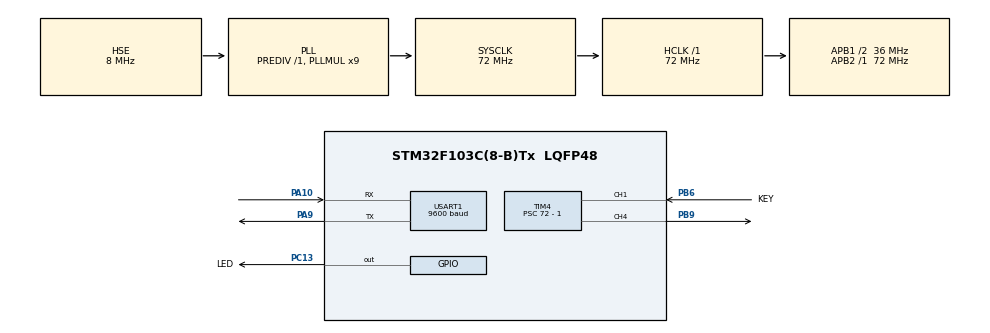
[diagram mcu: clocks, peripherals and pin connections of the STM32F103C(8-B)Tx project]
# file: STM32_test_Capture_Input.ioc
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Mcu.Family=STM32F1
Mcu.Name=STM32F103C(8-B)Tx
Mcu.Package=LQFP48
NVIC.PriorityGroup=NVIC_PRIORITYGROUP_4
NVIC.TIM4_IRQn=true\:0\:0\:false\:false\:true\:true\:true\:true
PA10.Mode=Asynchronous
PA10.Signal=USART1_RX
PA13.Mode=Serial_Wire
PA13.Signal=SYS_JTMS-SWDIO
PA14.Mode=Serial_Wire
PA14.Signal=SYS_JTCK-SWCLK
PA9.Mode=Asynchronous
PA9.Signal=USART1_TX
PB6.GPIO_Label=KEY
PB6.GPIO_PuPd=GPIO_PULLDOWN
PB6.Signal=S_TIM4_CH1
PB9.Signal=S_TIM4_CH4
PC13-TAMPER-RTC.GPIO_Label=LED
PC13-TAMPER-RTC.GPIO_Speed=GPIO_SPEED_FREQ_MEDIUM
PC13-TAMPER-RTC.PinState=GPIO_PIN_SET
PC13-TAMPER-RTC.Signal=GPIO_Output
PD0-OSC_IN.Mode=HSE-External-Oscillator
PD0-OSC_IN.Signal=RCC_OSC_IN
PD1-OSC_OUT.Mode=HSE-External-Oscillator
PD1-OSC_OUT.Signal=RCC_OSC_OUT
ProjectManager.HeapSize=0x200
ProjectManager.StackSize=0x400
ProjectManager.TargetToolchain=MDK-ARM V5.32
RCC.AHBFreq_Value=72000000
RCC.APB1CLKDivider=RCC_HCLK_DIV2
RCC.APB1Freq_Value=36000000
RCC.APB1TimFreq_Value=72000000
RCC.APB2Freq_Value=72000000
RCC.APB2TimFreq_Value=72000000
RCC.HCLKFreq_Value=72000000
RCC.PLLMUL=RCC_PLL_MUL9
RCC.PLLSourceVirtual=RCC_PLLSOURCE_HSE
RCC.SYSCLKFreq_VALUE=72000000
RCC.SYSCLKSource=RCC_SYSCLKSOURCE_PLLCLK
RCC.USBFreq_Value=72000000
SH.S_TIM4_CH1.0=TIM4_CH1,Input_Capture1_from_TI1
SH.S_TIM4_CH4.0=TIM4_CH4,PWM Generation4 CH4
TIM4.AutoReloadPreload=TIM_AUTORELOAD_PRELOAD_ENABLE
TIM4.Channel-Input_Capture1_from_TI1=TIM_CHANNEL_1
TIM4.Channel-PWM\ Generation4\ CH4=TIM_CHANNEL_4
TIM4.Period=1000 - 1
TIM4.Prescaler=72 - 1
TIM4.Pulse-PWM\ Generation4\ CH4=500
USART1.BaudRate=9600
USART1.VirtualMode=VM_ASYNC
VP_TIM4_VS_ClockSourceINT.Mode=Internal
board=custom

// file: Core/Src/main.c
/* USER CODE BEGIN Header */
/**
  ******************************************************************************
  * @file           : main.c
  * @brief          : Main program body
  ******************************************************************************
  * @attention
  *
  * Copyright (c) 2022 STMicroelectronics.
  * All rights reserved.
  *
  * This software is licensed under terms that can be found in the LICENSE file
  * in the root directory of this software component.
  * If no LICENSE file comes with this software, it is provided AS-IS.
  *
  ******************************************************************************
  */
/* USER CODE END Header */
#include "main.h"
#include "tim.h"
#include "usart.h"
#include "gpio.h"

/* USER CODE BEGIN Includes */
#include "stdio.h"
/* USER CODE END Includes */

/* USER CODE BEGIN PV */
int fputc(int ch, FILE *f)
{
  HAL_UART_Transmit(&huart1, (uint8_t *)&ch, 1, 0xffff);
  return ch;
}
/* USER CODE END PV */

void SystemClock_Config(void);

/* USER CODE BEGIN 0 */
uint8_t TIM4_CH1_Edge=0;  //状态变化时，计数值
uint32_t TIM4_CH1_VAL=0;  //储存计数器的记录值
uint32_t TIM4_CH1_OVER=0; //计数器溢出的个数
float time;   //高电平持续时间

/* USER CODE END 0 */

int main(void)
{

  /* MCU Configuration--------------------------------------------------------*/

  /* Reset of all peripherals, Initializes the Flash interface and the Systick. */
  HAL_Init();

  /* Configure the system clock */
  SystemClock_Config();

  /* Initialize all configured peripherals */
  MX_GPIO_Init();
  MX_TIM4_Init();
  MX_USART1_UART_Init();
  /* USER CODE BEGIN 2 */
	HAL_TIM_Base_Start_IT(&htim4);	//打开定时器中断
	HAL_TIM_IC_Start_IT(&htim4,TIM_CHANNEL_1);  //打开输入捕获
	HAL_TIM_PWM_Start(&htim4,TIM_CHANNEL_4);	//打开PWM输出
  /* USER CODE END 2 */

  /* Infinite loop */
  while (1)
  {

    /* USER CODE BEGIN 3 */
	  for(int i = 0;i < 1000;i++)
	  {
		   __HAL_TIM_SetCompare(&htim4, TIM_CHANNEL_4, i);
		  HAL_Delay(5);
		if(TIM4_CH1_Edge == 2)
		{
			TIM4_CH1_Edge = 0;  //重新开始捕获
			time = TIM4_CH1_VAL + TIM4_CH1_OVER * 1000;
			printf("高电平持续时间为 %.2f ms\r\n", time/1000);
			HAL_TIM_IC_Start_IT(&htim4,TIM_CHANNEL_1);  //打开输入捕获
		}
	  }
  }
  /* USER CODE END 3 */
}

void SystemClock_Config(void)
{
  RCC_OscInitTypeDef RCC_OscInitStruct = {0};
  RCC_ClkInitTypeDef RCC_ClkInitStruct = {0};

  /** Initializes the RCC Oscillators according to the specified parameters
  * in the RCC_OscInitTypeDef structure.
  */
  RCC_OscInitStruct.OscillatorType = RCC_OSCILLATORTYPE_HSE;
  RCC_OscInitStruct.HSEState = RCC_HSE_ON;
  RCC_OscInitStruct.HSEPredivValue = RCC_HSE_PREDIV_DIV1;
  RCC_OscInitStruct.HSIState = RCC_HSI_ON;
  RCC_OscInitStruct.PLL.PLLState = RCC_PLL_ON;
  RCC_OscInitStruct.PLL.PLLSource = RCC_PLLSOURCE_HSE;
  RCC_OscInitStruct.PLL.PLLMUL = RCC_PLL_MUL9;
  if (HAL_RCC_OscConfig(&RCC_OscInitStruct) != HAL_OK)
  {
    Error_Handler();
  }

  /** Initializes the CPU, AHB and APB buses clocks
  */
  RCC_ClkInitStruct.ClockType = RCC_CLOCKTYPE_HCLK|RCC_CLOCKTYPE_SYSCLK
                              |RCC_CLOCKTYPE_PCLK1|RCC_CLOCKTYPE_PCLK2;
  RCC_ClkInitStruct.SYSCLKSource = RCC_SYSCLKSOURCE_PLLCLK;
  RCC_ClkInitStruct.AHBCLKDivider = RCC_SYSCLK_DIV1;
  RCC_ClkInitStruct.APB1CLKDivider = RCC_HCLK_DIV2;
  RCC_ClkInitStruct.APB2CLKDivider = RCC_HCLK_DIV1;

  if (HAL_RCC_ClockConfig(&RCC_ClkInitStruct, FLASH_LATENCY_2) != HAL_OK)
  {
    Error_Handler();
  }
}

/* USER CODE BEGIN 4 */
void HAL_TIM_PeriodElapsedCallback(TIM_HandleTypeDef *htim)
{
	if(htim == &htim4)
	{
		if(TIM4_CH1_Edge == 1)
		{
			TIM4_CH1_OVER++;  //定时器溢出值增加
		}
	}
}
void HAL_TIM_IC_CaptureCallback(TIM_HandleTypeDef *htim)
{
	if(htim == &htim4)
	{
		if(TIM4_CH1_Edge == 0) //捕获到上升沿
		{
			HAL_GPIO_WritePin(LED_GPIO_Port,LED_Pin,GPIO_PIN_RESET);
			TIM4_CH1_Edge++;  //进入捕获下降沿状态
			TIM4_CH1_OVER = 0;  //定时器溢出值清零
			__HAL_TIM_SET_CAPTUREPOLARITY(&htim4,TIM_CHANNEL_1,TIM_ICPOLARITY_FALLING); //设置捕获极性为下降沿
			__HAL_TIM_SET_COUNTER(&htim4,0);  //设置定时器CNT计数器的值为0
		}
		else //捕获到下升沿
		{
			HAL_GPIO_WritePin(LED_GPIO_Port,LED_Pin,GPIO_PIN_SET);
			HAL_TIM_IC_Stop_IT(&htim4,TIM_CHANNEL_1); //关闭定时器4
			TIM4_CH1_Edge++;  //进入到主函数状态
			TIM4_CH1_VAL = HAL_TIM_ReadCapturedValue(&htim4,TIM_CHANNEL_1); //读取捕获通道的值
			__HAL_TIM_SET_CAPTUREPOLARITY(&htim4,TIM_CHANNEL_1,TIM_ICPOLARITY_RISING); //设置捕获极性为上升沿
		}
	}
}

/* USER CODE END 4 */

void Error_Handler(void)
{
  __disable_irq();
  while (1)
  {
  }
}
